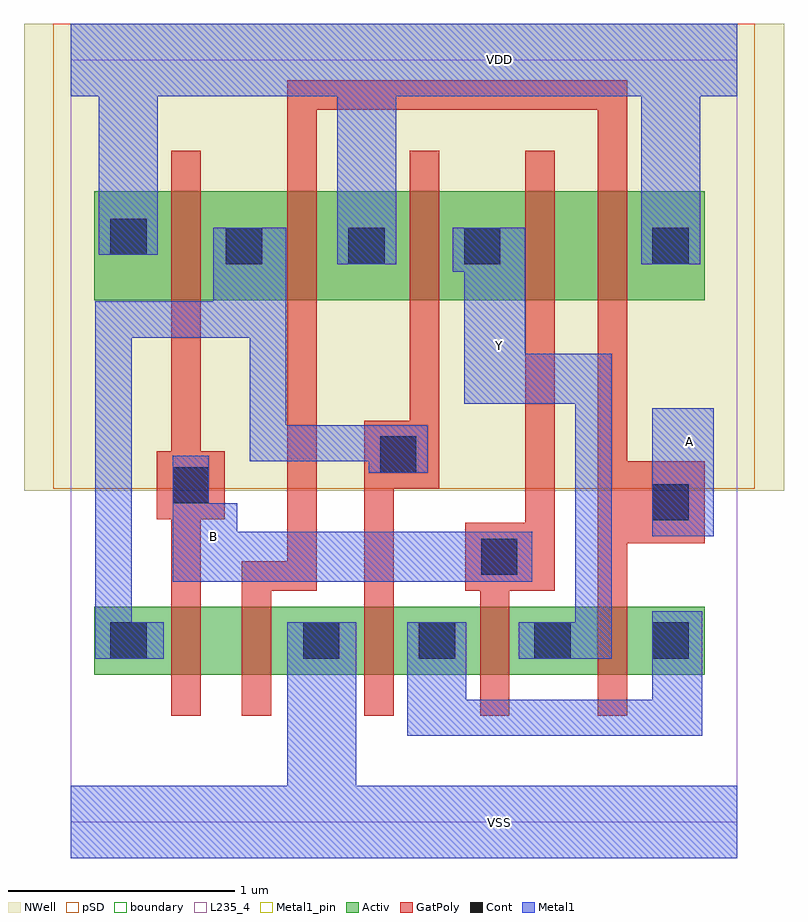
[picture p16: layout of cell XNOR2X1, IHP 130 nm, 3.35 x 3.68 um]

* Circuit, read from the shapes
.subckt XNOR2X1 A B VDD VSS Y
XM1 n1 B n2 VSUBS sg13_lv_nmos w=0.3u l=0.13u
XM2 VSS A n1 VSUBS sg13_lv_nmos w=0.3u l=0.13u
XM3 n3 n2 VSS VSUBS sg13_lv_nmos w=0.3u l=0.13u
XM4 Y B n3 VSUBS sg13_lv_nmos w=0.3u l=0.13u
XM5 n3 A Y VSUBS sg13_lv_nmos w=0.3u l=0.13u
XM6 n2 B VDD n4 sg13_lv_pmos w=0.48u l=0.13u
XM7 VDD A n2 n4 sg13_lv_pmos w=0.48u l=0.13u
XM8 Y n2 VDD n4 sg13_lv_pmos w=0.48u l=0.13u
XM9 n5 B Y n4 sg13_lv_pmos w=0.48u l=0.13u
XM10 VDD A n5 n4 sg13_lv_pmos w=0.48u l=0.13u
.ends

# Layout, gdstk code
import gdstk
lib = gdstk.Library(unit=1e-6, precision=1e-09)
def R(c, l, rs):  # rectangles x0, y0, x1, y1
    for r in rs: c.add(gdstk.rectangle(r[:2], r[2:], *l))
def A(c, l, x, y, w, h, nx, ny, dx, dy):  # array of equal rectangles
    R(c, l, [(x+i*dx, y+j*dy, x+i*dx+w, y+j*dy+h) for i in range(nx) for j in range(ny)])
def P(c, l, *ps):  # polygons
    for p in ps: c.add(gdstk.Polygon(p, *l))
Activ = (1, 0)
GatPoly = (5, 0)
Cont = (6, 0)
Metal1 = (8, 0)
Metal1_pin = (8, 2)
pSD = (14, 0)
NWell = (31, 0)
boundary = (189, 4)
L235_4 = (235, 4)

xnor2x1 = lib.new_cell('XNOR2X1')
R(xnor2x1, Activ, [(0.105,0.65,2.795,0.95), (0.105,2.3,2.795,2.78)])
P(xnor2x1, GatPoly, [(0.755,0.47),(0.755,1.15),(0.955,1.15),(0.955,3.27),(2.455,3.27),(2.455,1.59),(2.795,1.59),(2.795,1.23),(2.455,1.23),(2.455,0.47),(2.325,0.47),(2.325,3.14),(1.085,3.14),(1.085,1.02),(0.885,1.02),(0.885,0.47)],
  [(1.805,0.47),(1.805,1.02),(1.74,1.02),(1.74,1.32),(2.005,1.32),(2.005,2.96),(2.135,2.96),(2.135,1.02),(1.935,1.02),(1.935,0.47)],
  [(1.295,0.47),(1.295,1.77),(1.495,1.77),(1.495,2.96),(1.625,2.96),(1.625,1.47),(1.425,1.47),(1.425,0.47)],
  [(0.445,0.47),(0.445,1.335),(0.38,1.335),(0.38,1.635),(0.445,1.635),(0.445,2.96),(0.575,2.96),(0.575,1.635),(0.68,1.635),(0.68,1.335),(0.575,1.335),(0.575,0.47)])
A(xnor2x1, Cont, 1.025, 0.72, 0.16, 0.16, 3, 1, 0.51, 0)
R(xnor2x1, Cont, [(0.175,0.72,0.335,0.88), (2.565,0.72,2.725,0.88), (1.81,1.09,1.97,1.25), (2.565,1.33,2.725,1.49), (0.45,1.405,0.61,1.565), (1.365,1.54,1.525,1.7), (0.685,2.46,0.845,2.62), (1.225,2.46,1.385,2.62), (1.735,2.46,1.895,2.62), (2.565,2.46,2.725,2.62), (0.175,2.5,0.335,2.66)])
R(xnor2x1, Metal1, [(2.565,1.26,2.835,1.825)])
P(xnor2x1, Metal1, [(0,-0.16),(0,0.16),(0.955,0.16),(0.955,0.88),(1.26,0.88),(1.26,0.16),(2.94,0.16),(2.94,-0.16)],
  [(1.175,2.46),(1.175,3.2),(0.385,3.2),(0.385,2.5),(0.125,2.5),(0.125,3.2),(0,3.2),(0,3.52),(2.94,3.52),(2.94,3.2),(2.775,3.2),(2.775,2.46),(2.515,2.46),(2.515,3.2),(1.435,3.2),(1.435,2.46)],
  [(1.485,0.38),(1.485,0.88),(1.745,0.88),(1.745,0.54),(2.565,0.54),(2.565,0.93),(2.785,0.93),(2.785,0.38)],
  [(1.975,0.72),(1.975,0.88),(2.225,0.88),(2.225,1.845),(1.735,1.845),(1.735,2.425),(1.685,2.425),(1.685,2.62),(2.005,2.62),(2.005,2.065),(2.385,2.065),(2.385,0.72)],
  [(0.45,1.06),(0.45,1.615),(0.61,1.615),(0.61,1.405),(0.735,1.405),(0.735,1.28),(2.035,1.28),(2.035,1.06)],
  [(0.11,0.72),(0.11,2.295),(0.63,2.295),(0.63,2.62),(0.95,2.62),(0.95,1.75),(1.575,1.75),(1.575,1.54),(1.315,1.54),(1.315,1.59),(0.79,1.59),(0.79,2.135),(0.27,2.135),(0.27,0.88),(0.41,0.88),(0.41,0.72)])
R(xnor2x1, Metal1_pin, [(2.565,1.26,2.835,1.825)])
P(xnor2x1, Metal1_pin, [(0,-0.16),(0,0.16),(0.955,0.16),(0.955,0.88),(1.26,0.88),(1.26,0.16),(2.94,0.16),(2.94,-0.16)],
  [(1.175,2.46),(1.175,3.2),(0.385,3.2),(0.385,2.5),(0.125,2.5),(0.125,3.2),(0,3.2),(0,3.52),(2.94,3.52),(2.94,3.2),(2.775,3.2),(2.775,2.46),(2.515,2.46),(2.515,3.2),(1.435,3.2),(1.435,2.46)],
  [(1.975,0.72),(1.975,0.88),(2.225,0.88),(2.225,1.845),(1.735,1.845),(1.735,2.425),(1.685,2.425),(1.685,2.62),(2.005,2.62),(2.005,2.065),(2.385,2.065),(2.385,0.72)],
  [(0.45,1.06),(0.45,1.615),(0.61,1.615),(0.61,1.405),(0.735,1.405),(0.735,1.28),(2.035,1.28),(2.035,1.06)])
R(xnor2x1, pSD, [(-0.075,1.47,3.015,3.52)])
R(xnor2x1, NWell, [(-0.205,1.46,3.145,3.52)])
R(xnor2x1, boundary, [(0,0,2.94,3.36)])
R(xnor2x1, L235_4, [(0,0,2.94,3.36)])
xnor2x1.add(gdstk.Label('VSS', (1.89,0), layer=8, texttype=25))
xnor2x1.add(gdstk.Label('Y', (1.89,2.1), layer=8, texttype=25))
xnor2x1.add(gdstk.Label('B', (0.63,1.26), layer=8, texttype=25))
xnor2x1.add(gdstk.Label('A', (2.73,1.68), layer=8, texttype=25))
xnor2x1.add(gdstk.Label('VDD', (1.89,3.36), layer=8, texttype=25))

lib.write_gds('XNOR2X1.gds')
